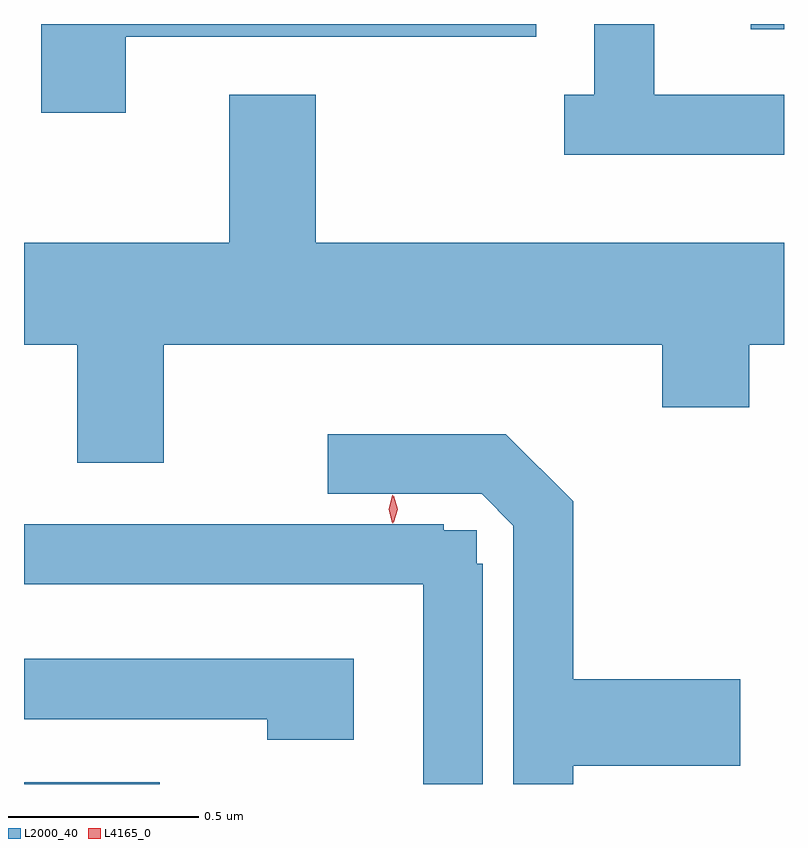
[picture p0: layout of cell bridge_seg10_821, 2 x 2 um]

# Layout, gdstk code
import gdstk
lib = gdstk.Library(unit=1e-6, precision=1e-09)
def R(c, l, rs):  # rectangles x0, y0, x1, y1
    for r in rs: c.add(gdstk.rectangle(r[:2], r[2:], *l))
def P(c, l, *ps):  # polygons
    for p in ps: c.add(gdstk.Polygon(p, *l))
L2000_40 = (2000, 40)
L4165_0 = (4165, 0)

bridge_seg10_821 = lib.new_cell('bridge_seg10_821')
R(bridge_seg10_821, L2000_40, [(601.891,2192.68,602.248,2192.684), (603.803,2194.666,603.891,2194.68)])
P(bridge_seg10_821, L2000_40, [(602.159,2194.646),(603.239,2194.646),(603.239,2194.68),(601.936,2194.68),(601.936,2194.446),(602.159,2194.446)],
  [(603.891,2194.494),(603.549,2194.494),(603.549,2194.68),(603.391,2194.68),(603.391,2194.494),(603.313,2194.494),(603.313,2194.336),(603.891,2194.336)],
  [(602.259,2193.836),(603.571,2193.836),(603.571,2193.671),(603.799,2193.671),(603.799,2193.836),(603.891,2193.836),(603.891,2194.104),(602.659,2194.104),(602.659,2194.494),(602.431,2194.494),(602.431,2194.104),(601.891,2194.104),(601.891,2193.836),(602.031,2193.836),(602.031,2193.526),(602.259,2193.526)],
  [(603.336,2192.728),(603.776,2192.728),(603.776,2192.956),(603.336,2192.956),(603.336,2193.424),(603.159,2193.601),(602.69,2193.601),(602.69,2193.444),(603.095,2193.444),(603.179,2193.36),(603.179,2192.68),(603.336,2192.68)],
  [(603.098,2193.26),(603.083,2193.26),(603.083,2193.348),(602.995,2193.348),(602.995,2193.363),(602.602,2193.363),(602.602,2193.364),(601.891,2193.364),(601.891,2193.206),(602.941,2193.206),(602.941,2192.68),(603.098,2192.68)],
  [(602.759,2193.009),(601.891,2193.009),(601.891,2192.851),(602.531,2192.851),(602.531,2192.796),(602.759,2192.796)])
P(bridge_seg10_821, L4165_0, [(602.861,2193.366),(602.86,2193.367),(602.851,2193.403),(602.86,2193.44),(602.861,2193.44),(602.861,2193.44),(602.871,2193.403),(602.861,2193.367)],
  [(602.864,2193.368),(602.864,2193.369),(602.854,2193.403),(602.864,2193.438),(602.864,2193.438),(602.864,2193.438),(602.874,2193.403),(602.864,2193.369)])

lib.write_gds('bridge_seg10_821.gds')
